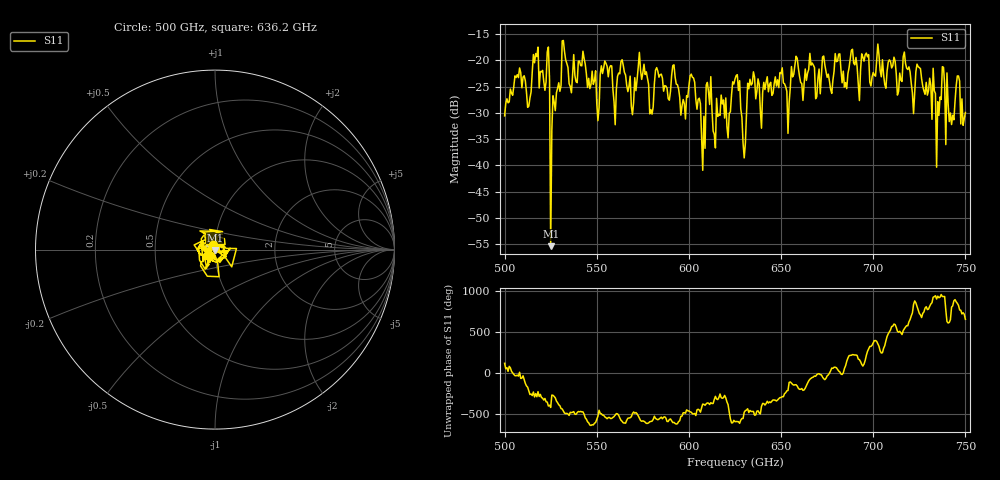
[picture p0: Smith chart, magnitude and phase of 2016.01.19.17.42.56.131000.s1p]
!Created with skrf (http://scikit-rf.org).
# GHz S RI R 50.0
!freq ReS11 ImS11
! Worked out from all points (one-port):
!   401 points, 500 GHz to 750 GHz, reference 50 ohm
!   lowest |S11| = -55.4 dB at 525 GHz (marker M1), VSWR 1.00, Z = 50.1 - j0.152 ohm
!   |S11| at or under -10 dB: start of sweep to end of sweep
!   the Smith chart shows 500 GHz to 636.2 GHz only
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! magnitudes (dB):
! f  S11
! 500 GHz  -30.6
! 507.5 GHz  -23.3
! 513.1 GHz  -28.7
! 516.9 GHz  -18.7
! 523.1 GHz  -18.4
! 525 GHz  -55.4
! 526.2 GHz  -26.8
! 531.2 GHz  -16.3
! 550 GHz  -28.2
! 562.5 GHz  -22.6
! 570 GHz  -28.0
! 574.4 GHz  -23.6
! 579.4 GHz  -29.4
! 583.1 GHz  -22.1
! 593.8 GHz  -24.6
! 596.9 GHz  -27.5
! 601.9 GHz  -23.2
! 607.5 GHz  -41.0
! 610.6 GHz  -26.0
! 614.4 GHz  -36.7
! 625 GHz  -23.6
! 630 GHz  -38.6
! 634.4 GHz  -24.4
! 653.8 GHz  -33.9
! 656.2 GHz  -23.2
! 687.5 GHz  -19.8
! 718.8 GHz  -21.8
! 750 GHz  -30.0
